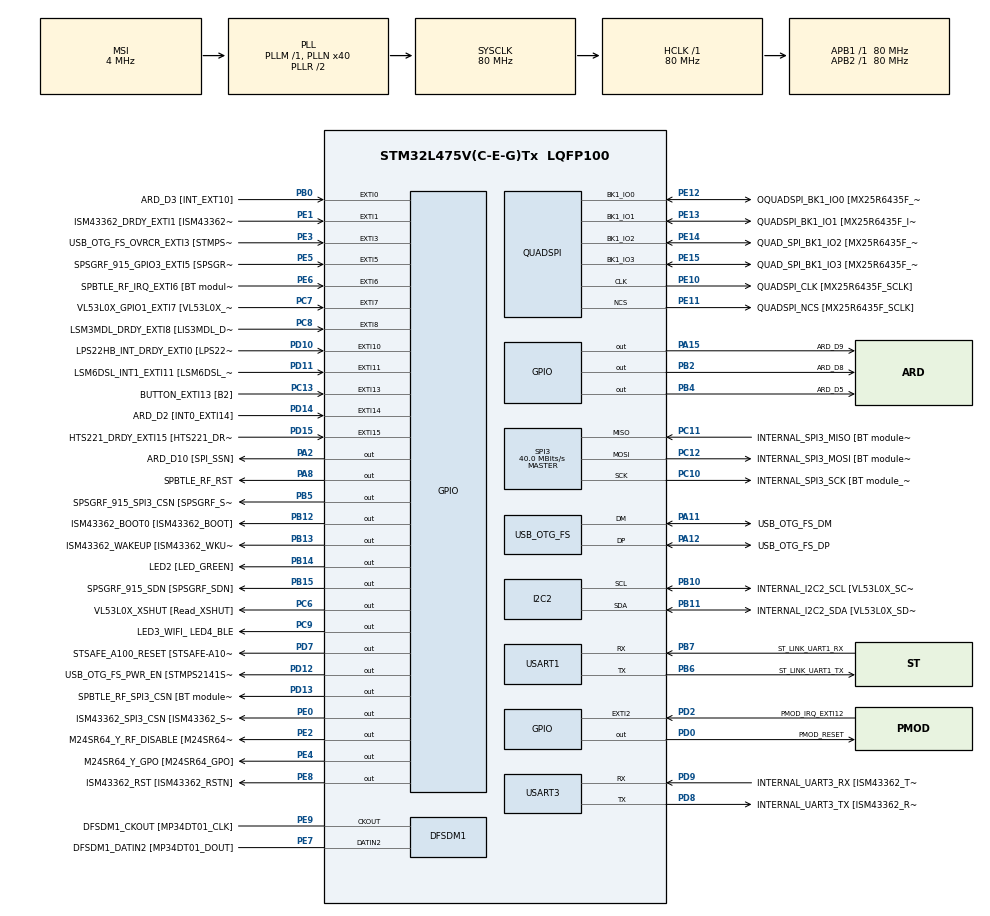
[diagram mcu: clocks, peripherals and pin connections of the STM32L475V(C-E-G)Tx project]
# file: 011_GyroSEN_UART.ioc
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Mcu.Family=STM32L4
Mcu.Name=STM32L475V(C-E-G)Tx
Mcu.Package=LQFP100
NVIC.EXTI15_10_IRQn=true\:0\:0\:false\:false\:true\:true\:true\:true
NVIC.EXTI9_5_IRQn=true\:0\:0\:false\:false\:true\:true\:true\:true
NVIC.PriorityGroup=NVIC_PRIORITYGROUP_4
PA0.GPIO_Label=ARD_D1 [UART4_TX]
PA0.Signal=UART4_TX
PA1.GPIO_Label=ARD_D0 [UART4_RX]
PA1.Signal=UART4_RX
PA10.GPIO_Label=USB_OTG_FS_ID
PA10.Signal=USB_OTG_FS_ID
PA11.GPIO_Label=USB_OTG_FS_DM
PA11.Mode=Device_Only
PA11.Signal=USB_OTG_FS_DM
PA12.GPIO_Label=USB_OTG_FS_DP
PA12.Mode=Device_Only
PA12.Signal=USB_OTG_FS_DP
PA13\ (JTMS-SWDIO).GPIO_Label=SYS_JTMS_SWDIO
PA13\ (JTMS-SWDIO).Mode=Serial_Wire
PA13\ (JTMS-SWDIO).Signal=SYS_JTMS-SWDIO
PA14\ (JTCK-SWCLK).GPIO_Label=SYS_JTCK_SWCLK
PA14\ (JTCK-SWCLK).Mode=Serial_Wire
PA14\ (JTCK-SWCLK).Signal=SYS_JTCK-SWCLK
PA15\ (JTDI).GPIO_Label=ARD_D9
PA15\ (JTDI).Signal=GPIO_Output
PA2.GPIO_Label=ARD_D10 [SPI_SSN]
PA2.Signal=GPIO_Output
PA3.GPIO_Label=ARD_D4
PA3.Signal=S_TIM2_CH4
PA4.GPIO_Label=ARD_D7
PA4.Signal=ADCx_IN9
PA5.GPIO_Label=ARD_D13 [SPI1_SCK]
PA5.Signal=SPI1_SCK
PA6.GPIO_Label=ARD_D12 [SPI1_MISO]
PA6.Signal=SPI1_MISO
PA7.GPIO_Label=ARD_D11 [SPI1_MOSI]
PA7.Signal=SPI1_MOSI
PA8.GPIO_Label=SPBTLE_RF_RST
PA8.Signal=GPIO_Output
PA9.GPIO_Label=USB_OTG_FS_VBUS [STMPS2141STR_OUT]
PA9.Signal=USB_OTG_FS_VBUS
PB0.GPIO_Label=ARD_D3 [INT_EXT10]
PB0.Signal=GPXTI0
PB1.GPIO_Label=ARD_D6 [ADC1_IN6]
PB1.Signal=ADCx_IN16
PB10.GPIO_Label=INTERNAL_I2C2_SCL [VL53L0X_SCL]
PB10.GPIO_Pu=GPIO_PULLUP
PB10.Mode=I2C
PB10.Signal=I2C2_SCL
PB11.GPIO_Label=INTERNAL_I2C2_SDA [VL53L0X_SDA]
PB11.GPIO_Pu=GPIO_PULLUP
PB11.Mode=I2C
PB11.Signal=I2C2_SDA
PB12.GPIO_Label=ISM43362_BOOT0 [ISM43362_BOOT]
PB12.Signal=GPIO_Output
PB13.GPIO_Label=ISM43362_WAKEUP [ISM43362_WKUP]
PB13.Signal=GPIO_Output
PB14.GPIO_Label=LED2 [LED_GREEN]
PB14.Signal=GPIO_Output
PB15.GPIO_Label=SPSGRF_915_SDN [SPSGRF_SDN]
PB15.Signal=GPIO_Output
PB2.GPIO_Label=ARD_D8
PB2.Signal=GPIO_Output
PB3\ (JTDO-TRACESWO).GPIO_Label=SYS_JTD0_SWO
PB3\ (JTDO-TRACESWO).Signal=SYS_JTDO-SWO
PB4\ (NJTRST).GPIO_Label=ARD_D5
PB4\ (NJTRST).Signal=GPIO_Output
PB5.GPIO_Label=SPSGRF_915_SPI3_CSN [SPSGRF_SPI_CS]
PB5.PinState=GPIO_PIN_SET
PB5.Signal=GPIO_Output
PB6.GPIO_Label=ST_LINK_UART1_TX
PB6.Mode=Asynchronous
PB6.Signal=USART1_TX
PB7.GPIO_Label=ST_LINK_UART1_RX
PB7.Mode=Asynchronous
PB7.Signal=USART1_RX
PB8.GPIO_Label=ARD_D15 [I2C1_SCL]
PB8.Signal=I2C1_SCL
PB9.GPIO_Label=ARD_D14 [I2C1_SDA]
PB9.Signal=I2C1_SDA
PC0.GPIO_Label=ARD_A5 [ADC]
PC0.Signal=ADCx_IN1
PC1.GPIO_Label=ARD_A4 [ADC]
PC1.Signal=ADCx_IN2
PC10.GPIO_Label=INTERNAL_SPI3_SCK [BT module_SPI_SCLK] [ISM43362_SCK]
PC10.Mode=Full_Duplex_Master
PC10.Signal=SPI3_SCK
PC11.GPIO_Label=INTERNAL_SPI3_MISO [BT module_SPI_MISO] [ISM43362_MISO]
PC11.Mode=Full_Duplex_Master
PC11.Signal=SPI3_MISO
PC12.GPIO_Label=INTERNAL_SPI3_MOSI [BT module_SPI_MOSI] [ISM43362_MOSI]
PC12.Mode=Full_Duplex_Master
PC12.Signal=SPI3_MOSI
PC13.GPIO_Label=BUTTON_EXTI13 [B2]
PC13.GPIO_ModeDefaultEXTI=GPIO_MODE_IT_FALLING
PC13.Signal=GPXTI13
PC14-OSC32_IN\ (PC14).Mode=LSE-External-Oscillator
PC14-OSC32_IN\ (PC14).Signal=RCC_OSC32_IN
PC15-OSC32_OUT\ (PC15).Mode=LSE-External-Oscillator
PC15-OSC32_OUT\ (PC15).Signal=RCC_OSC32_OUT
PC2.GPIO_Label=ARD_A3 [ADC]
PC2.Signal=ADCx_IN3
PC3.GPIO_Label=ARD_A2 [ADC]
PC3.Signal=ADCx_IN4
PC4.GPIO_Label=ARD_A1 [ADC]
PC4.Signal=ADCx_IN13
PC5.GPIO_Label=ARD_A0 [ADC]
PC5.Signal=ADCx_IN14
PC6.GPIO_Label=VL53L0X_XSHUT [Read_XSHUT]
PC6.Signal=GPIO_Output
PC7.GPIO_Label=VL53L0X_GPIO1_EXTI7 [VL53L0X_GPIO1]
PC7.Signal=GPXTI7
PC8.GPIO_Label=LSM3MDL_DRDY_EXTI8 [LIS3MDL_DRDY]
PC8.Signal=GPXTI8
PC9.GPIO_Label=LED3_WIFI_ LED4_BLE
PC9.Signal=GPIO_Output
PD0.GPIO_Label=PMOD_RESET
PD0.Signal=GPIO_Output
PD1.GPIO_Label=PMOD_SPI2_SCK
PD1.Signal=SPI2_SCK
PD10.GPIO_Label=LPS22HB_INT_DRDY_EXTI0 [LPS22HB_INT_DRDY] 
PD10.Signal=GPXTI10
PD11.GPIO_Label=LSM6DSL_INT1_EXTI11 [LSM6DSL_INT1]
PD11.Signal=GPXTI11
PD12.GPIO_Label=USB_OTG_FS_PWR_EN [STMPS2141STR_EN]
PD12.Signal=GPIO_Output
PD13.GPIO_Label=SPBTLE_RF_SPI3_CSN [BT module_SPI_CS]
PD13.PinState=GPIO_PIN_SET
PD13.Signal=GPIO_Output
PD14.GPIO_Label=ARD_D2 [INT0_EXTI14]
PD14.Signal=GPXTI14
PD15.GPIO_Label=HTS221_DRDY_EXTI15 [HTS221_DRDY]
PD15.Signal=GPXTI15
PD2.GPIO_Label=PMOD_IRQ_EXTI12
PD2.Signal=GPXTI2
PD3.GPIO_Label=PMOD_UART2_CTS
PD3.Signal=USART2_CTS
PD4.GPIO_Label=PMOD_UART2_RTS
PD4.Signal=USART2_RTS
PD5.GPIO_Label=PMOD_UART2_TX
PD5.Signal=USART2_TX
PD6.GPIO_Label=PMOD_UART2_RX
PD6.Signal=USART2_RX
PD7.GPIO_Label=STSAFE_A100_RESET [STSAFE-A100_RESET]
PD7.Signal=GPIO_Output
PD8.GPIO_Label=INTERNAL_UART3_TX [ISM43362_RX]
PD8.Mode=Asynchronous
PD8.Signal=USART3_TX
PD9.GPIO_Label=INTERNAL_UART3_RX [ISM43362_TX]
PD9.Mode=Asynchronous
PD9.Signal=USART3_RX
PE0.GPIO_Label=ISM43362_SPI3_CSN [ISM43362_SSN]
PE0.PinState=GPIO_PIN_SET
PE0.Signal=GPIO_Output
PE1.GPIO_Label=ISM43362_DRDY_EXTI1 [ISM43362_DATARDY]
PE1.Signal=GPXTI1
PE10.GPIO_Label=QUADSPI_CLK [MX25R6435F_SCLK]
PE10.Mode=Single Bank
PE10.Signal=QUADSPI_CLK
PE11.GPIO_Label=QUADSPI_NCS [MX25R6435F_SCLK]
PE11.Mode=Single Bank
PE11.Signal=QUADSPI_NCS
PE12.GPIO_Label=OQUADSPI_BK1_IO0 [MX25R6435F_IO0]
PE12.Mode=Single Bank
PE12.Signal=QUADSPI_BK1_IO0
PE13.GPIO_Label=QUADSPI_BK1_IO1 [MX25R6435F_IO1]
PE13.Mode=Single Bank
PE13.Signal=QUADSPI_BK1_IO1
PE14.GPIO_Label=QUAD_SPI_BK1_IO2 [MX25R6435F_IO2]
PE14.Mode=Single Bank
PE14.Signal=QUADSPI_BK1_IO2
PE15.GPIO_Label=QUAD_SPI_BK1_IO3 [MX25R6435F_IO3]
PE15.Mode=Single Bank
PE15.Signal=QUADSPI_BK1_IO3
PE2.GPIO_Label=M24SR64_Y_RF_DISABLE [M24SR64_RFDIS]
PE2.Signal=GPIO_Output
PE3.GPIO_Label=USB_OTG_FS_OVRCR_EXTI3 [STMPS2141STR_FAULT]
PE3.Signal=GPXTI3
PE4.GPIO_Label=M24SR64_Y_GPO [M24SR64_GPO]
PE4.Signal=GPIO_Output
PE5.GPIO_Label=SPSGRF_915_GPIO3_EXTI5 [SPSGRF_GPIO_3]
PE5.Signal=GPXTI5
PE6.GPIO_Label=SPBTLE_RF_IRQ_EXTI6 [BT module_SPI_IRQ]
PE6.Signal=GPXTI6
PE7.GPIO_Label=DFSDM1_DATIN2 [MP34DT01_DOUT]
PE7.Signal=S_DATAIN2DFSDM1
PE8.GPIO_Label=ISM43362_RST [ISM43362_RSTN]
PE8.Signal=GPIO_Output
PE9.GPIO_Label=DFSDM1_CKOUT [MP34DT01_CLK]
PE9.Signal=S_CKOUTDFSDM1
ProjectManager.HeapSize=0x200
ProjectManager.StackSize=0x400
ProjectManager.TargetToolchain=STM32CubeIDE
QUADSPI.ClockPrescaler=2
QUADSPI.FifoThreshold=4
QUADSPI.FlashSize=23
QUADSPI.SampleShifting=QSPI_SAMPLE_SHIFTING_HALFCYCLE
RCC.ADCFreq_Value=48000000
RCC.AHBFreq_Value=80000000
RCC.APB1Freq_Value=80000000
RCC.APB1TimFreq_Value=80000000
RCC.APB2Freq_Value=80000000
RCC.APB2TimFreq_Value=80000000
RCC.CortexFreq_Value=80000000
RCC.HCLKFreq_Value=80000000
RCC.HSE_VALUE=8000000
RCC.HSI_VALUE=16000000
RCC.MSI_VALUE=4000000
RCC.PLLN=40
RCC.PLLSAI1N=24
RCC.SYSCLKFreq_VALUE=80000000
RCC.SYSCLKSource=RCC_SYSCLKSOURCE_PLLCLK
RCC.USBFreq_Value=48000000
RCC.VCOOutputFreq_Value=160000000
SH.ADCx_IN1.0=ADC1_IN1
SH.ADCx_IN13.0=ADC1_IN13
SH.ADCx_IN14.0=ADC1_IN14
SH.ADCx_IN16.0=ADC1_IN16
SH.ADCx_IN2.0=ADC1_IN2
SH.ADCx_IN3.0=ADC1_IN3
SH.ADCx_IN4.0=ADC1_IN4
SH.ADCx_IN9.0=ADC1_IN9
SH.S_CKOUTDFSDM1.0=DFSDM1_CKOUT,CKOUT
SH.S_CKOUTDFSDM1.1=DFSDM1_CKOUT,PDM_SPI_Input_from_ch12_and_Internal_Clock
SH.S_DATAIN2DFSDM1.0=DFSDM1_DATIN2,PDM_SPI_Input_from_ch12_and_Internal_Clock
SH.S_TIM2_CH4.0=TIM2_CH4
SPI3.CalculateBaudRate=40.0 MBits/s
SPI3.Direction=SPI_DIRECTION_2LINES
SPI3.Mode=SPI_MODE_MASTER
SPI3.VirtualType=VM_MASTER
USART1.VirtualMode-Asynchronous=VM_ASYNC
USART3.VirtualMode-Asynchronous=VM_ASYNC
USB_OTG_FS.VirtualMode=Device_Only
board=B-L475E-IOT01A2

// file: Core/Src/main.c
/* USER CODE BEGIN Header */
/**
  ******************************************************************************
  * @file           : main.c
  * @brief          : Main program body
  ******************************************************************************
  * @attention
  *
  * Copyright (c) 2024 STMicroelectronics.
  * All rights reserved.
  *
  * This software is licensed under terms that can be found in the LICENSE file
  * in the root directory of this software component.
  * If no LICENSE file comes with this software, it is provided AS-IS.
  *
  ******************************************************************************
  */
/* USER CODE END Header */
#include "main.h"

/* USER CODE BEGIN Includes */
#include <stdio.h>
#include <math.h>
#include "stm32l475e_iot01.h"
#include "lsm6dsl.h"
/* USER CODE END Includes */

DFSDM_Channel_HandleTypeDef hdfsdm1_channel1;

I2C_HandleTypeDef hi2c2;

QSPI_HandleTypeDef hqspi;

SPI_HandleTypeDef hspi3;

UART_HandleTypeDef huart1;
UART_HandleTypeDef huart3;

PCD_HandleTypeDef hpcd_USB_OTG_FS;

/* USER CODE BEGIN PV */
uint8_t train[] = "                                          &&&&&&&&&\n\r                                        &&&\n\r                                       &&\n\r                                      &  _____ ___________\n\r                                     II__|[] | |   I I   |\n\r       @Balaji303                   |        |_|_  I I  _|\n\r                                   < OO----OOO   OO---OO\n\r**********************************************************\n\r";
char str_tmp[100] = ""; // Formatted message to display the temperature value
uint8_t msg0[] = "$$$$$$ A Project by @Balaji303 $$$$$$\n\n\r";
uint8_t msg1[] = "****** Accelerometer values measurement ******\n\n\r";
uint8_t msg2[] = "=====> Initializing sensor LSM6DSL ...\r\n";
uint8_t msg3[] = "=====> Sensor LSM6DSL initialized \r\n ";
/* USER CODE END PV */

void SystemClock_Config(void);
static void MX_GPIO_Init(void);
static void MX_DFSDM1_Init(void);
static void MX_I2C2_Init(void);
static void MX_QUADSPI_Init(void);
static void MX_SPI3_Init(void);
static void MX_USART1_UART_Init(void);
static void MX_USART3_UART_Init(void);
static void MX_USB_OTG_FS_PCD_Init(void);

int main(void)
{

  /* MCU Configuration--------------------------------------------------------*/

  /* Reset of all peripherals, Initializes the Flash interface and the Systick. */
  HAL_Init();

  /* Configure the system clock */
  SystemClock_Config();

  /* Initialize all configured peripherals */
  MX_GPIO_Init();
  MX_DFSDM1_Init();
  MX_I2C2_Init();
  MX_QUADSPI_Init();
  MX_SPI3_Init();
  MX_USART1_UART_Init();
  MX_USART3_UART_Init();
  MX_USB_OTG_FS_PCD_Init();
  /* USER CODE BEGIN 2 */
  float GyroData_f[3];
  int16_t GyroData_i[6];
  HAL_UART_Transmit(&huart1,train,sizeof(train),1000);
  HAL_Delay(100);
  HAL_UART_Transmit(&huart1,msg0,sizeof(msg0),1000);
  HAL_UART_Transmit(&huart1,msg1,sizeof(msg1),1000);
  HAL_Delay(100);
  HAL_UART_Transmit(&huart1,msg2,sizeof(msg2),1000);
  //1. Initialize Gyro sensor
  uint16_t LSM6DSL_InitStruct;
  //CTRL1_XL = 0b0110_0000 = 0X60 //416Hz High performance
  LSM6DSL_InitStruct |= 0x60;
  //CTRL3_C = 0b0100_0000_0000 = 0x0400 //Enable Serial Interface
  LSM6DSL_InitStruct |= 0x0400;
  //LSM6DSL_InitStruct |= 0x0460;
  LSM6DSL_GyroInit(LSM6DSL_InitStruct);
  HAL_UART_Transmit(&huart1,msg3,sizeof(msg3),1000);
  //
  /* USER CODE END 2 */

  /* Infinite loop */
  while (1)
  {

    /* USER CODE BEGIN 3 */
	  LSM6DSL_GyroReadXYZAngRate(&GyroData_f[0]);
	  for(int i=0,j=0;i<3;i++,j++)
	  {
		  GyroData_i[j] = GyroData_f[i];
		  float tmpFrac = GyroData_f[i] - GyroData_i[j];
		  j++;
		  GyroData_i[j] = trunc(tmpFrac * 100);
	  }
	  snprintf(str_tmp,100,"X=%d.%02d Y=%d.%02d Z=%d.%02d\n\r", GyroData_i[0], GyroData_i[1], GyroData_i[2], GyroData_i[3], GyroData_i[4], GyroData_i[5] );
	  HAL_UART_Transmit(&huart1,( uint8_t *)str_tmp,sizeof(str_tmp),1000);
	  HAL_Delay(2000);
  }
  /* USER CODE END 3 */
}

void SystemClock_Config(void)
{
  RCC_OscInitTypeDef RCC_OscInitStruct = {0};
  RCC_ClkInitTypeDef RCC_ClkInitStruct = {0};

  /** Configure the main internal regulator output voltage
  */
  if (HAL_PWREx_ControlVoltageScaling(PWR_REGULATOR_VOLTAGE_SCALE1) != HAL_OK)
  {
    Error_Handler();
  }

  /** Configure LSE Drive Capability
  */
  HAL_PWR_EnableBkUpAccess();
  __HAL_RCC_LSEDRIVE_CONFIG(RCC_LSEDRIVE_LOW);

  /** Initializes the RCC Oscillators according to the specified parameters
  * in the RCC_OscInitTypeDef structure.
  */
  RCC_OscInitStruct.OscillatorType = RCC_OSCILLATORTYPE_LSE|RCC_OSCILLATORTYPE_MSI;
  RCC_OscInitStruct.LSEState = RCC_LSE_ON;
  RCC_OscInitStruct.MSIState = RCC_MSI_ON;
  RCC_OscInitStruct.MSICalibrationValue = 0;
  RCC_OscInitStruct.MSIClockRange = RCC_MSIRANGE_6;
  RCC_OscInitStruct.PLL.PLLState = RCC_PLL_ON;
  RCC_OscInitStruct.PLL.PLLSource = RCC_PLLSOURCE_MSI;
  RCC_OscInitStruct.PLL.PLLM = 1;
  RCC_OscInitStruct.PLL.PLLN = 40;
  RCC_OscInitStruct.PLL.PLLP = RCC_PLLP_DIV7;
  RCC_OscInitStruct.PLL.PLLQ = RCC_PLLQ_DIV2;
  RCC_OscInitStruct.PLL.PLLR = RCC_PLLR_DIV2;
  if (HAL_RCC_OscConfig(&RCC_OscInitStruct) != HAL_OK)
  {
    Error_Handler();
  }

  /** Initializes the CPU, AHB and APB buses clocks
  */
  RCC_ClkInitStruct.ClockType = RCC_CLOCKTYPE_HCLK|RCC_CLOCKTYPE_SYSCLK
                              |RCC_CLOCKTYPE_PCLK1|RCC_CLOCKTYPE_PCLK2;
  RCC_ClkInitStruct.SYSCLKSource = RCC_SYSCLKSOURCE_PLLCLK;
  RCC_ClkInitStruct.AHBCLKDivider = RCC_SYSCLK_DIV1;
  RCC_ClkInitStruct.APB1CLKDivider = RCC_HCLK_DIV1;
  RCC_ClkInitStruct.APB2CLKDivider = RCC_HCLK_DIV1;

  if (HAL_RCC_ClockConfig(&RCC_ClkInitStruct, FLASH_LATENCY_4) != HAL_OK)
  {
    Error_Handler();
  }

  /** Enable MSI Auto calibration
  */
  HAL_RCCEx_EnableMSIPLLMode();
}

static void MX_DFSDM1_Init(void)
{

  hdfsdm1_channel1.Instance = DFSDM1_Channel1;
  hdfsdm1_channel1.Init.OutputClock.Activation = ENABLE;
  hdfsdm1_channel1.Init.OutputClock.Selection = DFSDM_CHANNEL_OUTPUT_CLOCK_SYSTEM;
  hdfsdm1_channel1.Init.OutputClock.Divider = 2;
  hdfsdm1_channel1.Init.Input.Multiplexer = DFSDM_CHANNEL_EXTERNAL_INPUTS;
  hdfsdm1_channel1.Init.Input.DataPacking = DFSDM_CHANNEL_STANDARD_MODE;
  hdfsdm1_channel1.Init.Input.Pins = DFSDM_CHANNEL_FOLLOWING_CHANNEL_PINS;
  hdfsdm1_channel1.Init.SerialInterface.Type = DFSDM_CHANNEL_SPI_RISING;
  hdfsdm1_channel1.Init.SerialInterface.SpiClock = DFSDM_CHANNEL_SPI_CLOCK_INTERNAL;
  hdfsdm1_channel1.Init.Awd.FilterOrder = DFSDM_CHANNEL_FASTSINC_ORDER;
  hdfsdm1_channel1.Init.Awd.Oversampling = 1;
  hdfsdm1_channel1.Init.Offset = 0;
  hdfsdm1_channel1.Init.RightBitShift = 0x00;
  if (HAL_DFSDM_ChannelInit(&hdfsdm1_channel1) != HAL_OK)
  {
    Error_Handler();
  }

}

static void MX_I2C2_Init(void)
{

  hi2c2.Instance = I2C2;
  hi2c2.Init.Timing = 0x00000E14;
  hi2c2.Init.OwnAddress1 = 0;
  hi2c2.Init.AddressingMode = I2C_ADDRESSINGMODE_7BIT;
  hi2c2.Init.DualAddressMode = I2C_DUALADDRESS_DISABLE;
  hi2c2.Init.OwnAddress2 = 0;
  hi2c2.Init.OwnAddress2Masks = I2C_OA2_NOMASK;
  hi2c2.Init.GeneralCallMode = I2C_GENERALCALL_DISABLE;
  hi2c2.Init.NoStretchMode = I2C_NOSTRETCH_DISABLE;
  if (HAL_I2C_Init(&hi2c2) != HAL_OK)
  {
    Error_Handler();
  }

  /** Configure Analogue filter
  */
  if (HAL_I2CEx_ConfigAnalogFilter(&hi2c2, I2C_ANALOGFILTER_ENABLE) != HAL_OK)
  {
    Error_Handler();
  }

  /** Configure Digital filter
  */
  if (HAL_I2CEx_ConfigDigitalFilter(&hi2c2, 0) != HAL_OK)
  {
    Error_Handler();
  }

}

static void MX_QUADSPI_Init(void)
{

  /* QUADSPI parameter configuration*/
  hqspi.Instance = QUADSPI;
  hqspi.Init.ClockPrescaler = 2;
  hqspi.Init.FifoThreshold = 4;
  hqspi.Init.SampleShifting = QSPI_SAMPLE_SHIFTING_HALFCYCLE;
  hqspi.Init.FlashSize = 23;
  hqspi.Init.ChipSelectHighTime = QSPI_CS_HIGH_TIME_1_CYCLE;
  hqspi.Init.ClockMode = QSPI_CLOCK_MODE_0;
  if (HAL_QSPI_Init(&hqspi) != HAL_OK)
  {
    Error_Handler();
  }

}

static void MX_SPI3_Init(void)
{

  /* SPI3 parameter configuration*/
  hspi3.Instance = SPI3;
  hspi3.Init.Mode = SPI_MODE_MASTER;
  hspi3.Init.Direction = SPI_DIRECTION_2LINES;
  hspi3.Init.DataSize = SPI_DATASIZE_4BIT;
  hspi3.Init.CLKPolarity = SPI_POLARITY_LOW;
  hspi3.Init.CLKPhase = SPI_PHASE_1EDGE;
  hspi3.Init.NSS = SPI_NSS_SOFT;
  hspi3.Init.BaudRatePrescaler = SPI_BAUDRATEPRESCALER_2;
  hspi3.Init.FirstBit = SPI_FIRSTBIT_MSB;
  hspi3.Init.TIMode = SPI_TIMODE_DISABLE;
  hspi3.Init.CRCCalculation = SPI_CRCCALCULATION_DISABLE;
  hspi3.Init.CRCPolynomial = 7;
  hspi3.Init.CRCLength = SPI_CRC_LENGTH_DATASIZE;
  hspi3.Init.NSSPMode = SPI_NSS_PULSE_ENABLE;
  if (HAL_SPI_Init(&hspi3) != HAL_OK)
  {
    Error_Handler();
  }

}

static void MX_USART1_UART_Init(void)
{

  huart1.Instance = USART1;
  huart1.Init.BaudRate = 115200;
  huart1.Init.WordLength = UART_WORDLENGTH_8B;
  huart1.Init.StopBits = UART_STOPBITS_1;
  huart1.Init.Parity = UART_PARITY_NONE;
  huart1.Init.Mode = UART_MODE_TX_RX;
  huart1.Init.HwFlowCtl = UART_HWCONTROL_NONE;
  huart1.Init.OverSampling = UART_OVERSAMPLING_16;
  huart1.Init.OneBitSampling = UART_ONE_BIT_SAMPLE_DISABLE;
  huart1.AdvancedInit.AdvFeatureInit = UART_ADVFEATURE_NO_INIT;
  if (HAL_UART_Init(&huart1) != HAL_OK)
  {
    Error_Handler();
  }

}

static void MX_USART3_UART_Init(void)
{

  huart3.Instance = USART3;
  huart3.Init.BaudRate = 115200;
  huart3.Init.WordLength = UART_WORDLENGTH_8B;
  huart3.Init.StopBits = UART_STOPBITS_1;
  huart3.Init.Parity = UART_PARITY_NONE;
  huart3.Init.Mode = UART_MODE_TX_RX;
  huart3.Init.HwFlowCtl = UART_HWCONTROL_NONE;
  huart3.Init.OverSampling = UART_OVERSAMPLING_16;
  huart3.Init.OneBitSampling = UART_ONE_BIT_SAMPLE_DISABLE;
  huart3.AdvancedInit.AdvFeatureInit = UART_ADVFEATURE_NO_INIT;
  if (HAL_UART_Init(&huart3) != HAL_OK)
  {
    Error_Handler();
  }

}

static void MX_USB_OTG_FS_PCD_Init(void)
{

  hpcd_USB_OTG_FS.Instance = USB_OTG_FS;
  hpcd_USB_OTG_FS.Init.dev_endpoints = 6;
  hpcd_USB_OTG_FS.Init.speed = PCD_SPEED_FULL;
  hpcd_USB_OTG_FS.Init.phy_itface = PCD_PHY_EMBEDDED;
  hpcd_USB_OTG_FS.Init.Sof_enable = DISABLE;
  hpcd_USB_OTG_FS.Init.low_power_enable = DISABLE;
  hpcd_USB_OTG_FS.Init.lpm_enable = DISABLE;
  hpcd_USB_OTG_FS.Init.battery_charging_enable = DISABLE;
  hpcd_USB_OTG_FS.Init.use_dedicated_ep1 = DISABLE;
  hpcd_USB_OTG_FS.Init.vbus_sensing_enable = DISABLE;
  if (HAL_PCD_Init(&hpcd_USB_OTG_FS) != HAL_OK)
  {
    Error_Handler();
  }

}

static void MX_GPIO_Init(void)
{
  GPIO_InitTypeDef GPIO_InitStruct = {0};

  /* GPIO Ports Clock Enable */
  __HAL_RCC_GPIOE_CLK_ENABLE();
  __HAL_RCC_GPIOC_CLK_ENABLE();
  __HAL_RCC_GPIOA_CLK_ENABLE();
  __HAL_RCC_GPIOB_CLK_ENABLE();
  __HAL_RCC_GPIOD_CLK_ENABLE();

  /*Configure GPIO pin Output Level */
  HAL_GPIO_WritePin(GPIOE, M24SR64_Y_RF_DISABLE_Pin|M24SR64_Y_GPO_Pin|ISM43362_RST_Pin, GPIO_PIN_RESET);

  /*Configure GPIO pin Output Level */
  HAL_GPIO_WritePin(GPIOA, ARD_D10_Pin|SPBTLE_RF_RST_Pin|ARD_D9_Pin, GPIO_PIN_RESET);

  /*Configure GPIO pin Output Level */
  HAL_GPIO_WritePin(GPIOB, ARD_D8_Pin|ISM43362_BOOT0_Pin|ISM43362_WAKEUP_Pin|LED2_Pin
                          |SPSGRF_915_SDN_Pin|ARD_D5_Pin, GPIO_PIN_RESET);

  /*Configure GPIO pin Output Level */
  HAL_GPIO_WritePin(GPIOD, USB_OTG_FS_PWR_EN_Pin|PMOD_RESET_Pin|STSAFE_A100_RESET_Pin, GPIO_PIN_RESET);

  /*Configure GPIO pin Output Level */
  HAL_GPIO_WritePin(SPBTLE_RF_SPI3_CSN_GPIO_Port, SPBTLE_RF_SPI3_CSN_Pin, GPIO_PIN_SET);

  /*Configure GPIO pin Output Level */
  HAL_GPIO_WritePin(GPIOC, VL53L0X_XSHUT_Pin|LED3_WIFI__LED4_BLE_Pin, GPIO_PIN_RESET);

  /*Configure GPIO pin Output Level */
  HAL_GPIO_WritePin(SPSGRF_915_SPI3_CSN_GPIO_Port, SPSGRF_915_SPI3_CSN_Pin, GPIO_PIN_SET);

  /*Configure GPIO pin Output Level */
  HAL_GPIO_WritePin(ISM43362_SPI3_CSN_GPIO_Port, ISM43362_SPI3_CSN_Pin, GPIO_PIN_SET);

  /*Configure GPIO pins : M24SR64_Y_RF_DISABLE_Pin M24SR64_Y_GPO_Pin ISM43362_RST_Pin ISM43362_SPI3_CSN_Pin */
  GPIO_InitStruct.Pin = M24SR64_Y_RF_DISABLE_Pin|M24SR64_Y_GPO_Pin|ISM43362_RST_Pin|ISM43362_SPI3_CSN_Pin;
  GPIO_InitStruct.Mode = GPIO_MODE_OUTPUT_PP;
  GPIO_InitStruct.Pull = GPIO_NOPULL;
  GPIO_InitStruct.Speed = GPIO_SPEED_FREQ_LOW;
  HAL_GPIO_Init(GPIOE, &GPIO_InitStruct);

  /*Configure GPIO pins : USB_OTG_FS_OVRCR_EXTI3_Pin SPSGRF_915_GPIO3_EXTI5_Pin SPBTLE_RF_IRQ_EXTI6_Pin ISM43362_DRDY_EXTI1_Pin */
  GPIO_InitStruct.Pin = USB_OTG_FS_OVRCR_EXTI3_Pin|SPSGRF_915_GPIO3_EXTI5_Pin|SPBTLE_RF_IRQ_EXTI6_Pin|ISM43362_DRDY_EXTI1_Pin;
  GPIO_InitStruct.Mode = GPIO_MODE_IT_RISING;
  GPIO_InitStruct.Pull = GPIO_NOPULL;
  HAL_GPIO_Init(GPIOE, &GPIO_InitStruct);

  /*Configure GPIO pin : BUTTON_EXTI13_Pin */
  GPIO_InitStruct.Pin = BUTTON_EXTI13_Pin;
  GPIO_InitStruct.Mode = GPIO_MODE_IT_FALLING;
  GPIO_InitStruct.Pull = GPIO_NOPULL;
  HAL_GPIO_Init(BUTTON_EXTI13_GPIO_Port, &GPIO_InitStruct);

  /*Configure GPIO pins : ARD_A5_Pin ARD_A4_Pin ARD_A3_Pin ARD_A2_Pin
                           ARD_A1_Pin ARD_A0_Pin */
  GPIO_InitStruct.Pin = ARD_A5_Pin|ARD_A4_Pin|ARD_A3_Pin|ARD_A2_Pin
                          |ARD_A1_Pin|ARD_A0_Pin;
  GPIO_InitStruct.Mode = GPIO_MODE_ANALOG_ADC_CONTROL;
  GPIO_InitStruct.Pull = GPIO_NOPULL;
  HAL_GPIO_Init(GPIOC, &GPIO_InitStruct);

  /*Configure GPIO pins : ARD_D1_Pin ARD_D0_Pin */
  GPIO_InitStruct.Pin = ARD_D1_Pin|ARD_D0_Pin;
  GPIO_InitStruct.Mode = GPIO_MODE_AF_PP;
  GPIO_InitStruct.Pull = GPIO_NOPULL;
  GPIO_InitStruct.Speed = GPIO_SPEED_FREQ_VERY_HIGH;
  GPIO_InitStruct.Alternate = GPIO_AF8_UART4;
  HAL_GPIO_Init(GPIOA, &GPIO_InitStruct);

  /*Configure GPIO pins : ARD_D10_Pin SPBTLE_RF_RST_Pin ARD_D9_Pin */
  GPIO_InitStruct.Pin = ARD_D10_Pin|SPBTLE_RF_RST_Pin|ARD_D9_Pin;
  GPIO_InitStruct.Mode = GPIO_MODE_OUTPUT_PP;
  GPIO_InitStruct.Pull = GPIO_NOPULL;
  GPIO_InitStruct.Speed = GPIO_SPEED_FREQ_LOW;
  HAL_GPIO_Init(GPIOA, &GPIO_InitStruct);

  /*Configure GPIO pin : ARD_D4_Pin */
  GPIO_InitStruct.Pin = ARD_D4_Pin;
  GPIO_InitStruct.Mode = GPIO_MODE_AF_PP;
  GPIO_InitStruct.Pull = GPIO_NOPULL;
  GPIO_InitStruct.Speed = GPIO_SPEED_FREQ_LOW;
  GPIO_InitStruct.Alternate = GPIO_AF1_TIM2;
  HAL_GPIO_Init(ARD_D4_GPIO_Port, &GPIO_InitStruct);

  /*Configure GPIO pin : ARD_D7_Pin */
  GPIO_InitStruct.Pin = ARD_D7_Pin;
  GPIO_InitStruct.Mode = GPIO_MODE_ANALOG_ADC_CONTROL;
  GPIO_InitStruct.Pull = GPIO_NOPULL;
  HAL_GPIO_Init(ARD_D7_GPIO_Port, &GPIO_InitStruct);

  /*Configure GPIO pins : ARD_D13_Pin ARD_D12_Pin ARD_D11_Pin */
  GPIO_InitStruct.Pin = ARD_D13_Pin|ARD_D12_Pin|ARD_D11_Pin;
  GPIO_InitStruct.Mode = GPIO_MODE_AF_PP;
  GPIO_InitStruct.Pull = GPIO_NOPULL;
  GPIO_InitStruct.Speed = GPIO_SPEED_FREQ_VERY_HIGH;
  GPIO_InitStruct.Alternate = GPIO_AF5_SPI1;
  HAL_GPIO_Init(GPIOA, &GPIO_InitStruct);

  /*Configure GPIO pin : ARD_D3_Pin */
  GPIO_InitStruct.Pin = ARD_D3_Pin;
  GPIO_InitStruct.Mode = GPIO_MODE_IT_RISING;
  GPIO_InitStruct.Pull = GPIO_NOPULL;
  HAL_GPIO_Init(ARD_D3_GPIO_Port, &GPIO_InitStruct);

  /*Configure GPIO pin : ARD_D6_Pin */
  GPIO_InitStruct.Pin = ARD_D6_Pin;
  GPIO_InitStruct.Mode = GPIO_MODE_ANALOG_ADC_CONTROL;
  GPIO_InitStruct.Pull = GPIO_NOPULL;
  HAL_GPIO_Init(ARD_D6_GPIO_Port, &GPIO_InitStruct);

  /*Configure GPIO pins : ARD_D8_Pin ISM43362_BOOT0_Pin ISM43362_WAKEUP_Pin LED2_Pin
                           SPSGRF_915_SDN_Pin ARD_D5_Pin SPSGRF_915_SPI3_CSN_Pin */
  GPIO_InitStruct.Pin = ARD_D8_Pin|ISM43362_BOOT0_Pin|ISM43362_WAKEUP_Pin|LED2_Pin
                          |SPSGRF_915_SDN_Pin|ARD_D5_Pin|SPSGRF_915_SPI3_CSN_Pin;
  GPIO_InitStruct.Mode = GPIO_MODE_OUTPUT_PP;
  GPIO_InitStruct.Pull = GPIO_NOPULL;
  GPIO_InitStruct.Speed = GPIO_SPEED_FREQ_LOW;
  HAL_GPIO_Init(GPIOB, &GPIO_InitStruct);

  /*Configure GPIO pins : LPS22HB_INT_DRDY_EXTI0_Pin LSM6DSL_INT1_EXTI11_Pin ARD_D2_Pin HTS221_DRDY_EXTI15_Pin
                           PMOD_IRQ_EXTI12_Pin */
  GPIO_InitStruct.Pin = LPS22HB_INT_DRDY_EXTI0_Pin|LSM6DSL_INT1_EXTI11_Pin|ARD_D2_Pin|HTS221_DRDY_EXTI15_Pin
                          |PMOD_IRQ_EXTI12_Pin;
  GPIO_InitStruct.Mode = GPIO_MODE_IT_RISING;
  GPIO_InitStruct.Pull = GPIO_NOPULL;
  HAL_GPIO_Init(GPIOD, &GPIO_InitStruct);

  /*Configure GPIO pins : USB_OTG_FS_PWR_EN_Pin SPBTLE_RF_SPI3_CSN_Pin PMOD_RESET_Pin STSAFE_A100_RESET_Pin */
  GPIO_InitStruct.Pin = USB_OTG_FS_PWR_EN_Pin|SPBTLE_RF_SPI3_CSN_Pin|PMOD_RESET_Pin|STSAFE_A100_RESET_Pin;
  GPIO_InitStruct.Mode = GPIO_MODE_OUTPUT_PP;
  GPIO_InitStruct.Pull = GPIO_NOPULL;
  GPIO_InitStruct.Speed = GPIO_SPEED_FREQ_LOW;
  HAL_GPIO_Init(GPIOD, &GPIO_InitStruct);

  /*Configure GPIO pins : VL53L0X_XSHUT_Pin LED3_WIFI__LED4_BLE_Pin */
  GPIO_InitStruct.Pin = VL53L0X_XSHUT_Pin|LED3_WIFI__LED4_BLE_Pin;
  GPIO_InitStruct.Mode = GPIO_MODE_OUTPUT_PP;
  GPIO_InitStruct.Pull = GPIO_NOPULL;
  GPIO_InitStruct.Speed = GPIO_SPEED_FREQ_LOW;
  HAL_GPIO_Init(GPIOC, &GPIO_InitStruct);

  /*Configure GPIO pins : VL53L0X_GPIO1_EXTI7_Pin LSM3MDL_DRDY_EXTI8_Pin */
  GPIO_InitStruct.Pin = VL53L0X_GPIO1_EXTI7_Pin|LSM3MDL_DRDY_EXTI8_Pin;
  GPIO_InitStruct.Mode = GPIO_MODE_IT_RISING;
  GPIO_InitStruct.Pull = GPIO_NOPULL;
  HAL_GPIO_Init(GPIOC, &GPIO_InitStruct);

  /*Configure GPIO pin : PMOD_SPI2_SCK_Pin */
  GPIO_InitStruct.Pin = PMOD_SPI2_SCK_Pin;
  GPIO_InitStruct.Mode = GPIO_MODE_AF_PP;
  GPIO_InitStruct.Pull = GPIO_NOPULL;
  GPIO_InitStruct.Speed = GPIO_SPEED_FREQ_VERY_HIGH;
  GPIO_InitStruct.Alternate = GPIO_AF5_SPI2;
  HAL_GPIO_Init(PMOD_SPI2_SCK_GPIO_Port, &GPIO_InitStruct);

  /*Configure GPIO pins : PMOD_UART2_CTS_Pin PMOD_UART2_RTS_Pin PMOD_UART2_TX_Pin PMOD_UART2_RX_Pin */
  GPIO_InitStruct.Pin = PMOD_UART2_CTS_Pin|PMOD_UART2_RTS_Pin|PMOD_UART2_TX_Pin|PMOD_UART2_RX_Pin;
  GPIO_InitStruct.Mode = GPIO_MODE_AF_PP;
  GPIO_InitStruct.Pull = GPIO_NOPULL;
  GPIO_InitStruct.Speed = GPIO_SPEED_FREQ_VERY_HIGH;
  GPIO_InitStruct.Alternate = GPIO_AF7_USART2;
  HAL_GPIO_Init(GPIOD, &GPIO_InitStruct);

  /*Configure GPIO pins : ARD_D15_Pin ARD_D14_Pin */
  GPIO_InitStruct.Pin = ARD_D15_Pin|ARD_D14_Pin;
  GPIO_InitStruct.Mode = GPIO_MODE_AF_OD;
  GPIO_InitStruct.Pull = GPIO_NOPULL;
  GPIO_InitStruct.Speed = GPIO_SPEED_FREQ_VERY_HIGH;
  GPIO_InitStruct.Alternate = GPIO_AF4_I2C1;
  HAL_GPIO_Init(GPIOB, &GPIO_InitStruct);

  /* EXTI interrupt init*/
  HAL_NVIC_SetPriority(EXTI9_5_IRQn, 0, 0);
  HAL_NVIC_EnableIRQ(EXTI9_5_IRQn);

  HAL_NVIC_SetPriority(EXTI15_10_IRQn, 0, 0);
  HAL_NVIC_EnableIRQ(EXTI15_10_IRQn);

}

void Error_Handler(void)
{
  __disable_irq();
  while (1)
  {
  }
}
